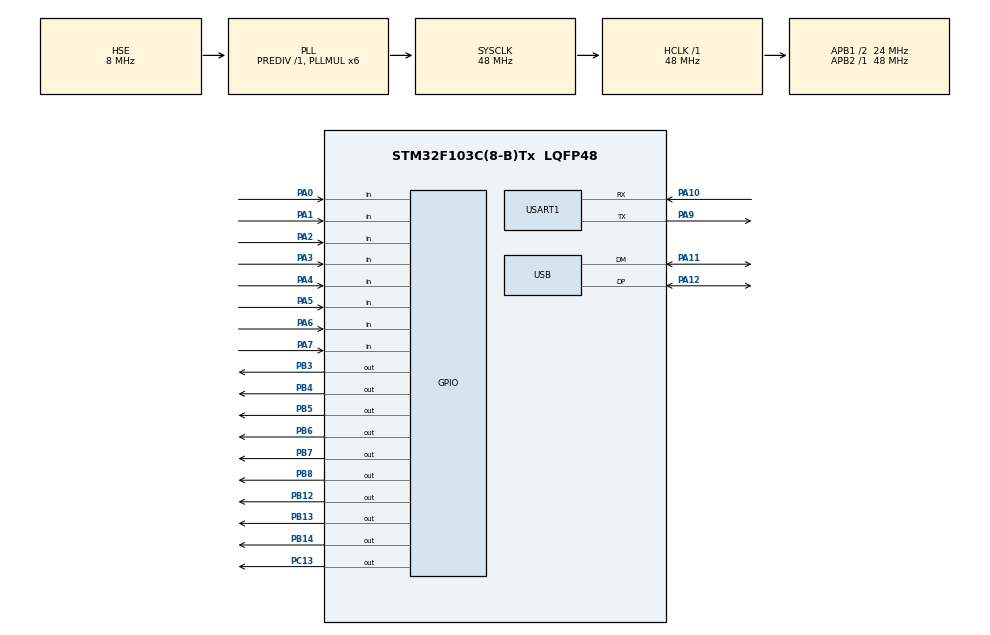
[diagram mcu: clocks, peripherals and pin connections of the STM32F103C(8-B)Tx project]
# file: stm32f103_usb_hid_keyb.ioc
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Mcu.Family=STM32F1
Mcu.Name=STM32F103C(8-B)Tx
Mcu.Package=LQFP48
NVIC.PriorityGroup=NVIC_PRIORITYGROUP_4
NVIC.USB_LP_CAN1_RX0_IRQn=true\:0\:0\:false\:false\:true\:false\:true
PA0-WKUP.Signal=GPIO_Input
PA1.Signal=GPIO_Input
PA10.Mode=Asynchronous
PA10.Signal=USART1_RX
PA11.Mode=Device
PA11.Signal=USB_DM
PA12.Mode=Device
PA12.Signal=USB_DP
PA13.Mode=Serial_Wire
PA13.Signal=SYS_JTMS-SWDIO
PA14.Mode=Serial_Wire
PA14.Signal=SYS_JTCK-SWCLK
PA2.Signal=GPIO_Input
PA3.Signal=GPIO_Input
PA4.Signal=GPIO_Input
PA5.Signal=GPIO_Input
PA6.Signal=GPIO_Input
PA7.Signal=GPIO_Input
PA9.Mode=Asynchronous
PA9.Signal=USART1_TX
PB12.Signal=GPIO_Output
PB13.Signal=GPIO_Output
PB14.Signal=GPIO_Output
PB3.Signal=GPIO_Output
PB4.Signal=GPIO_Output
PB5.Signal=GPIO_Output
PB6.Signal=GPIO_Output
PB7.Signal=GPIO_Output
PB8.Signal=GPIO_Output
PC13-TAMPER-RTC.Signal=GPIO_Output
PD0-OSC_IN.Mode=HSE-External-Oscillator
PD0-OSC_IN.Signal=RCC_OSC_IN
PD1-OSC_OUT.Mode=HSE-External-Oscillator
PD1-OSC_OUT.Signal=RCC_OSC_OUT
ProjectManager.HeapSize=0x200
ProjectManager.StackSize=0x400
ProjectManager.TargetToolchain=MDK-ARM V5
RCC.AHBFreq_Value=48000000
RCC.APB1CLKDivider=RCC_HCLK_DIV2
RCC.APB1Freq_Value=24000000
RCC.APB1TimFreq_Value=48000000
RCC.APB2Freq_Value=48000000
RCC.APB2TimFreq_Value=48000000
RCC.HCLKFreq_Value=48000000
RCC.PLLMUL=RCC_PLL_MUL6
RCC.SYSCLKFreq_VALUE=48000000
RCC.SYSCLKSource=RCC_SYSCLKSOURCE_PLLCLK
RCC.USBFreq_Value=48000000
USART1.VirtualMode=VM_ASYNC
USB_DEVICE.CLASS_NAME_FS=HID
USB_DEVICE.PRODUCT_STRING_HID_FS=STM32 HID KEYBOARD
USB_DEVICE.VirtualMode=Hid
USB_DEVICE.VirtualModeFS=Hid_FS
VP_USB_DEVICE_VS_USB_DEVICE_HID_FS.Mode=HID_FS
board=custom

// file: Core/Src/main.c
/* USER CODE BEGIN Header */
/**
  ******************************************************************************
  * @file           : main.c
  * @brief          : Main program body
  ******************************************************************************
  * @attention
  *
  * <h2><center>&copy; Copyright (c) 2022 STMicroelectronics.
  * All rights reserved.</center></h2>
  *
  * This software component is licensed by ST under Ultimate Liberty license
  * SLA0044, the "License"; You may not use this file except in compliance with
  * the License. You may obtain a copy of the License at:
  *                             www.st.com/SLA0044
  *
  ******************************************************************************
  */
/* USER CODE END Header */
#include "main.h"
#include "usb_device.h"

/* USER CODE BEGIN Includes */
#include "usbd_hid.h"
/* USER CODE END Includes */

UART_HandleTypeDef huart1;

/* USER CODE BEGIN PV */
extern USBD_HandleTypeDef hUsbDeviceFS;

typedef struct
{
	uint8_t modifier;
	uint8_t reserved;
	uint8_t keykode1;
	uint8_t keykode2;
	uint8_t keykode3;
	uint8_t keykode4;
	uint8_t keykode5;
	uint8_t keykode6;
} keyboard_HID_t;

keyboard_HID_t kbhid = {0,0,0,0,0,0,0,0};
uint8_t cl = 0;
uint8_t press_matrix[8][9] = {0};
uint16_t kb_matrix[8][9] = {0};
uint8_t lshift = 0;
uint8_t rshift = 0;
uint8_t lalt = 0;
uint8_t ralt = 0;
uint8_t lctrl = 0;
uint8_t rctrl = 0;
uint8_t lwin = 0;
uint8_t rwin = 0;
uint8_t fn = 0;

//    0   1   2   3   4       5       6       7       8
//0: "3","5","7","9","-",  "BKSP","P.SCR",     "",     "1",
//1: "2","4","6","8","0",     "=",  "INS",     "",   "ESC",
//2: "e","t","u","o","[",    "\\","PAUSE", "LALT",     "q",
//3: "w","r","y","i","p",     "]",  "DEL","SPACE",   "TAB",
//4: "s","f","h","k",";", "ENTER","RIGHT",   "FN",     "~",
//5: "a","d","g","j","l",     "'","LCTRL","RCTRL","CAPS.L",
//6: "x","v","n",",","/",    "UP", "DOWN", "RALT",   "WIN",
//7: "z","c","b","m",".","LSHIFT", "LEFT","SPACE","RSHIFT"

uint8_t val_matrix[8][9] =
  { 0x20, 0x22, 0x24, 0x26, 0x2D, 0x2A, 0x46, 0x00, 0x1E,
	  0x1F, 0x21, 0x23, 0x25, 0x27, 0x2E, 0x49, 0x00, 0x29,
	  0x08, 0x17, 0x18, 0x12, 0x2F, 0x32, 0x48, 0xE2, 0x14,
	  0x1A, 0x15, 0x1C, 0x0C, 0x13, 0x30, 0x4C, 0x00, 0x2B,
	  0x16, 0x09, 0x0B, 0x0E, 0x33, 0x28, 0x4F, 0x00, 0x35,
	  0x04, 0x07, 0x0A, 0x0D, 0x0F, 0x34, 0xE0, 0xE4, 0x39,
	  0x1B, 0x19, 0x11, 0x36, 0x38, 0x52, 0x51, 0xE6, 0xE3,
	  0x1D, 0x06, 0x05, 0x10, 0x37, 0xE1, 0x50, 0x2C, 0xE5};

uint8_t fn_matrix[8][9] =
  { 0x3C, 0x3E, 0x40, 0x42, 0x44, 0x2A, 0x81, 0x00, 0x3A,
	  0x3B, 0x3D, 0x3F, 0x41, 0x43, 0x45, 0x49, 0x00, 0x35,
	  0x08, 0x17, 0x18, 0x12, 0x2F, 0x32, 0x80, 0x00, 0x14,
	  0x1A, 0x15, 0x1C, 0x0C, 0x13, 0x30, 0x4C, 0x00, 0x2B,
	  0x16, 0x09, 0x0B, 0x0E, 0x33, 0x28, 0x4D, 0x00, 0x35,
	  0x04, 0x07, 0x0A, 0x0D, 0x0F, 0x34, 0x00, 0x00, 0x39,
	  0x1B, 0x19, 0x11, 0x36, 0x38, 0x4B, 0x4E, 0x00, 0xE7,
	  0x1D, 0x06, 0x05, 0x10, 0x37, 0x00, 0x4A, 0x2C, 0x00};

char str_matrix[8][9][1]=
  {"3","5","7","9","-","\x08","\x07", "",   "1",
   "2","4","6","8","0",   "=",    "", "","\x1B",
   "e","t","u","o","[",  "\\",    "", "",   "q",
   "w","r","y","i","p",   "]","\x7f"," ",  "\t",
   "s","f","h","k",";",  "\n",    "", "",   "`",
   "a","d","g","j","l",   "'",    "", "",    "",
   "x","v","n",",","/",    "",    "", "",    "",
   "z","c","b","m",".",    "",    ""," ",    "" };
char shift_matrix[8][9][1]=
  {"#","%","&","(","_","\x08","\x07", "",   "!",
   "2","$","^","*",")",   "+",    "", "","\x1B",
   "E","T","U","O","{",   "|",    "", "",   "Q",
   "W","R","Y","I","P",   "}","\x7f"," ",  "\t",
   "S","F","H","K",":",  "\n",    "", "",   "~",
   "A","D","G","J","L",  "\"",    "", "",    "",
   "X","V","N","<","?",    "",    "", "",    "",
   "Z","C","B","M",">",    "",    ""," ",    "" };

/* USER CODE END PV */

void SystemClock_Config(void);
static void MX_GPIO_Init(void);
static void MX_USART1_UART_Init(void);

/* USER CODE BEGIN 0 */
void clear_columns(){
	HAL_GPIO_WritePin(GPIOB, GPIO_PIN_3, GPIO_PIN_RESET);
	HAL_GPIO_WritePin(GPIOB, GPIO_PIN_4, GPIO_PIN_RESET);
	HAL_GPIO_WritePin(GPIOB, GPIO_PIN_5, GPIO_PIN_RESET);
	HAL_GPIO_WritePin(GPIOB, GPIO_PIN_6, GPIO_PIN_RESET);
	HAL_GPIO_WritePin(GPIOB, GPIO_PIN_7, GPIO_PIN_RESET);
	HAL_GPIO_WritePin(GPIOB, GPIO_PIN_8, GPIO_PIN_RESET);
	HAL_GPIO_WritePin(GPIOB, GPIO_PIN_12, GPIO_PIN_RESET);
	HAL_GPIO_WritePin(GPIOB, GPIO_PIN_13, GPIO_PIN_RESET);
	HAL_GPIO_WritePin(GPIOB, GPIO_PIN_14, GPIO_PIN_RESET);
}

void toggle_column(){
	if (cl == 0) HAL_GPIO_WritePin(GPIOB, GPIO_PIN_3, GPIO_PIN_SET);
	else if (cl == 1) HAL_GPIO_WritePin(GPIOB, GPIO_PIN_4, GPIO_PIN_SET);
	else if (cl == 2) HAL_GPIO_WritePin(GPIOB, GPIO_PIN_5, GPIO_PIN_SET);
	else if (cl == 3) HAL_GPIO_WritePin(GPIOB, GPIO_PIN_6, GPIO_PIN_SET);
	else if (cl == 4) HAL_GPIO_WritePin(GPIOB, GPIO_PIN_7, GPIO_PIN_SET);
	else if (cl == 5) HAL_GPIO_WritePin(GPIOB, GPIO_PIN_8, GPIO_PIN_SET);
	else if (cl == 6) HAL_GPIO_WritePin(GPIOB, GPIO_PIN_12, GPIO_PIN_SET);
	else if (cl == 7) HAL_GPIO_WritePin(GPIOB, GPIO_PIN_13, GPIO_PIN_SET);
	else if (cl == 8) HAL_GPIO_WritePin(GPIOB, GPIO_PIN_14, GPIO_PIN_SET);
  cl++;
	if (cl > 8) cl = 0;
}
/* USER CODE END 0 */

int main(void)
{

  /* MCU Configuration--------------------------------------------------------*/

  /* Reset of all peripherals, Initializes the Flash interface and the Systick. */
  HAL_Init();

  /* Configure the system clock */
  SystemClock_Config();

  /* Initialize all configured peripherals */
  MX_GPIO_Init();
  MX_USB_DEVICE_Init();
  MX_USART1_UART_Init();
  /* USER CODE BEGIN 2 */
  HAL_GPIO_WritePin(GPIOC, GPIO_PIN_13, GPIO_PIN_SET);
  /* USER CODE END 2 */

  /* Infinite loop */
  /* USER CODE BEGIN WHILE */
  while (1)
  {
		int i = 0;
    /* USER CODE END WHILE */

    /* USER CODE BEGIN 3 */
		clear_columns();
		toggle_column();

		if (HAL_GPIO_ReadPin(GPIOA, GPIO_PIN_0) == GPIO_PIN_SET) press_matrix[0][cl] = 1; else press_matrix[0][cl] = 0;
		if (HAL_GPIO_ReadPin(GPIOA, GPIO_PIN_1) == GPIO_PIN_SET) press_matrix[1][cl] = 1; else press_matrix[1][cl] = 0;
		if (HAL_GPIO_ReadPin(GPIOA, GPIO_PIN_2) == GPIO_PIN_SET) press_matrix[2][cl] = 1; else press_matrix[2][cl] = 0;
		if (HAL_GPIO_ReadPin(GPIOA, GPIO_PIN_3) == GPIO_PIN_SET) press_matrix[3][cl] = 1; else press_matrix[3][cl] = 0;
		if (HAL_GPIO_ReadPin(GPIOA, GPIO_PIN_4) == GPIO_PIN_SET) press_matrix[4][cl] = 1; else press_matrix[4][cl] = 0;
		if (HAL_GPIO_ReadPin(GPIOA, GPIO_PIN_5) == GPIO_PIN_SET) press_matrix[5][cl] = 1; else press_matrix[5][cl] = 0;
		if (HAL_GPIO_ReadPin(GPIOA, GPIO_PIN_6) == GPIO_PIN_SET) press_matrix[6][cl] = 1; else press_matrix[6][cl] = 0;
		if (HAL_GPIO_ReadPin(GPIOA, GPIO_PIN_7) == GPIO_PIN_SET) press_matrix[7][cl] = 1; else press_matrix[7][cl] = 0;

		//shift = (press_matrix[7][5] == 1) || (press_matrix[7][8] == 1);
		lshift = (press_matrix[7][5] == 1);
		rshift = (press_matrix[7][8] == 1);
		//ctrl = (press_matrix[5][7] == 1) || (press_matrix[6][7] == 1);
		lctrl = (press_matrix[5][6] == 1) ;
		rctrl = (press_matrix[5][7] == 1);
		lalt = (press_matrix[2][7] == 1);
		ralt = (press_matrix[6][7] == 1);
		lwin = (press_matrix[6][8] == 1);
		fn = (press_matrix[4][7] == 1);
		if (fn){
			rwin = lwin;
			lwin = 0;
		}

		if (press_matrix[3][7] == 1)
		{
			press_matrix[3][7] = 0;
			press_matrix[7][7] = 1;
		}

		for (i=0; i<8; i++){
			if (press_matrix[i][cl] == 1) kb_matrix[i][cl]++; else {
				if (kb_matrix[i][cl] > 0){
					kbhid.keykode1 = 0x00;
  				kbhid.modifier = (lshift << 1) + (rshift << 5) + (lctrl) + (rctrl << 4) + (lalt << 2) + (ralt << 6) + (lwin << 3) + (rwin << 7);
					USBD_HID_SendReport(&hUsbDeviceFS, (uint8_t *) &kbhid, sizeof(kbhid));
					HAL_GPIO_WritePin(GPIOC, GPIO_PIN_13, GPIO_PIN_SET);
				}
				kb_matrix[i][cl] = 0;
			}

			if ((kb_matrix[i][cl] == 1)||(kb_matrix[i][cl] > 50)){
  			//if (HAL_GPIO_ReadPin(GPIOC, GPIO_PIN_13) == GPIO_PIN_RESET) HAL_GPIO_WritePin(GPIOC, GPIO_PIN_13, GPIO_PIN_SET); else HAL_GPIO_WritePin(GPIOC, GPIO_PIN_13, GPIO_PIN_RESET);
				uint8_t tmp = 0;
				if (fn) tmp = fn_matrix[i][cl]; else tmp = val_matrix[i][cl];
				if (tmp != 0){
					HAL_GPIO_WritePin(GPIOC, GPIO_PIN_13, GPIO_PIN_RESET);
					kbhid.keykode1 = tmp;
					kbhid.modifier = (lshift << 1) + (rshift << 5) + (lctrl) + (rctrl << 4) + (lalt << 2) + (ralt << 6) + (lwin << 3) + (rwin << 7);
					USBD_HID_SendReport(&hUsbDeviceFS, (uint8_t *) &kbhid, sizeof(kbhid));
				} //else kb_matrix[i][cl] = 0;

				if (lshift || rshift) tmp = shift_matrix[i][cl][0]; else tmp = str_matrix[i][cl][0];
				if (tmp){
					HAL_UART_Transmit(&huart1, &tmp, 1, 100);
				  if (tmp=='\n'){
						tmp = '\r';
  					HAL_UART_Transmit(&huart1, &tmp, 1, 100);
					}
				}
			}
		}

		HAL_Delay(5);

		if (cl == 0){
			//if (HAL_GPIO_ReadPin(GPIOC, GPIO_PIN_13) == GPIO_PIN_RESET) HAL_GPIO_WritePin(GPIOC, GPIO_PIN_13, GPIO_PIN_SET); else HAL_GPIO_WritePin(GPIOC, GPIO_PIN_13, GPIO_PIN_RESET);
		}
  }
  /* USER CODE END 3 */
}

void SystemClock_Config(void)
{
  RCC_OscInitTypeDef RCC_OscInitStruct = {0};
  RCC_ClkInitTypeDef RCC_ClkInitStruct = {0};
  RCC_PeriphCLKInitTypeDef PeriphClkInit = {0};

  /** Initializes the RCC Oscillators according to the specified parameters
  * in the RCC_OscInitTypeDef structure.
  */
  RCC_OscInitStruct.OscillatorType = RCC_OSCILLATORTYPE_HSE;
  RCC_OscInitStruct.HSEState = RCC_HSE_ON;
  RCC_OscInitStruct.HSEPredivValue = RCC_HSE_PREDIV_DIV1;
  RCC_OscInitStruct.HSIState = RCC_HSI_ON;
  RCC_OscInitStruct.PLL.PLLState = RCC_PLL_ON;
  RCC_OscInitStruct.PLL.PLLSource = RCC_PLLSOURCE_HSE;
  RCC_OscInitStruct.PLL.PLLMUL = RCC_PLL_MUL6;
  if (HAL_RCC_OscConfig(&RCC_OscInitStruct) != HAL_OK)
  {
    Error_Handler();
  }
  /** Initializes the CPU, AHB and APB buses clocks
  */
  RCC_ClkInitStruct.ClockType = RCC_CLOCKTYPE_HCLK|RCC_CLOCKTYPE_SYSCLK
                              |RCC_CLOCKTYPE_PCLK1|RCC_CLOCKTYPE_PCLK2;
  RCC_ClkInitStruct.SYSCLKSource = RCC_SYSCLKSOURCE_PLLCLK;
  RCC_ClkInitStruct.AHBCLKDivider = RCC_SYSCLK_DIV1;
  RCC_ClkInitStruct.APB1CLKDivider = RCC_HCLK_DIV2;
  RCC_ClkInitStruct.APB2CLKDivider = RCC_HCLK_DIV1;

  if (HAL_RCC_ClockConfig(&RCC_ClkInitStruct, FLASH_LATENCY_1) != HAL_OK)
  {
    Error_Handler();
  }
  PeriphClkInit.PeriphClockSelection = RCC_PERIPHCLK_USB;
  PeriphClkInit.UsbClockSelection = RCC_USBCLKSOURCE_PLL;
  if (HAL_RCCEx_PeriphCLKConfig(&PeriphClkInit) != HAL_OK)
  {
    Error_Handler();
  }
}

static void MX_USART1_UART_Init(void)
{

  huart1.Instance = USART1;
  huart1.Init.BaudRate = 115200;
  huart1.Init.WordLength = UART_WORDLENGTH_8B;
  huart1.Init.StopBits = UART_STOPBITS_1;
  huart1.Init.Parity = UART_PARITY_NONE;
  huart1.Init.Mode = UART_MODE_TX_RX;
  huart1.Init.HwFlowCtl = UART_HWCONTROL_NONE;
  huart1.Init.OverSampling = UART_OVERSAMPLING_16;
  if (HAL_UART_Init(&huart1) != HAL_OK)
  {
    Error_Handler();
  }

}

static void MX_GPIO_Init(void)
{
  GPIO_InitTypeDef GPIO_InitStruct = {0};

  /* GPIO Ports Clock Enable */
  __HAL_RCC_GPIOC_CLK_ENABLE();
  __HAL_RCC_GPIOD_CLK_ENABLE();
  __HAL_RCC_GPIOA_CLK_ENABLE();
  __HAL_RCC_GPIOB_CLK_ENABLE();

  /*Configure GPIO pin Output Level */
  HAL_GPIO_WritePin(GPIOC, GPIO_PIN_13, GPIO_PIN_RESET);

  /*Configure GPIO pin Output Level */
  HAL_GPIO_WritePin(GPIOB, GPIO_PIN_12|GPIO_PIN_13|GPIO_PIN_14|GPIO_PIN_3
                          |GPIO_PIN_4|GPIO_PIN_5|GPIO_PIN_6|GPIO_PIN_7
                          |GPIO_PIN_8, GPIO_PIN_RESET);

  /*Configure GPIO pin : PC13 */
  GPIO_InitStruct.Pin = GPIO_PIN_13;
  GPIO_InitStruct.Mode = GPIO_MODE_OUTPUT_PP;
  GPIO_InitStruct.Pull = GPIO_NOPULL;
  GPIO_InitStruct.Speed = GPIO_SPEED_FREQ_LOW;
  HAL_GPIO_Init(GPIOC, &GPIO_InitStruct);

  /*Configure GPIO pins : PA0 PA1 PA2 PA3
                           PA4 PA5 PA6 PA7 */
  GPIO_InitStruct.Pin = GPIO_PIN_0|GPIO_PIN_1|GPIO_PIN_2|GPIO_PIN_3
                          |GPIO_PIN_4|GPIO_PIN_5|GPIO_PIN_6|GPIO_PIN_7;
  GPIO_InitStruct.Mode = GPIO_MODE_INPUT;
  GPIO_InitStruct.Pull = GPIO_NOPULL;
  HAL_GPIO_Init(GPIOA, &GPIO_InitStruct);

  /*Configure GPIO pins : PB12 PB13 PB14 PB3
                           PB4 PB5 PB6 PB7
                           PB8 */
  GPIO_InitStruct.Pin = GPIO_PIN_12|GPIO_PIN_13|GPIO_PIN_14|GPIO_PIN_3
                          |GPIO_PIN_4|GPIO_PIN_5|GPIO_PIN_6|GPIO_PIN_7
                          |GPIO_PIN_8;
  GPIO_InitStruct.Mode = GPIO_MODE_OUTPUT_PP;
  GPIO_InitStruct.Pull = GPIO_NOPULL;
  GPIO_InitStruct.Speed = GPIO_SPEED_FREQ_LOW;
  HAL_GPIO_Init(GPIOB, &GPIO_InitStruct);

}

void Error_Handler(void)
{
  __disable_irq();
  while (1)
  {
  }
}

/************************ (C) COPYRIGHT STMicroelectronics *****END OF FILE****/
